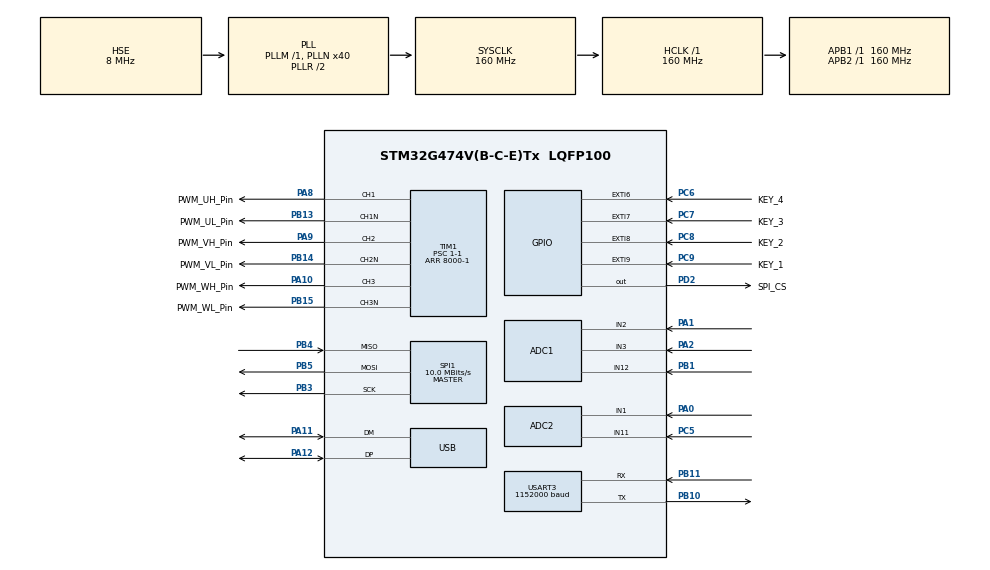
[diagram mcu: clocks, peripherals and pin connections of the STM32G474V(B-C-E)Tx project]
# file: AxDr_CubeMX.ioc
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ADC1.Channel-0\#ChannelRegularConversion=ADC_CHANNEL_12
ADC1.EnableInjectedConversion=ENABLE
ADC1.ExternalTrigInjecConv=ADC_EXTERNALTRIGINJEC_T1_TRGO
ADC1.InjNumberOfConversion=2
ADC1.InjectedChannel-1\#ChannelInjectedConversion=ADC_CHANNEL_3
ADC1.InjectedChannel-2\#ChannelInjectedConversion=ADC_CHANNEL_2
ADC1.InjectedOffsetNumber-1\#ChannelInjectedConversion=ADC_OFFSET_NONE
ADC1.InjectedOffsetNumber-2\#ChannelInjectedConversion=ADC_OFFSET_NONE
ADC1.InjectedRank-1\#ChannelInjectedConversion=1
ADC1.InjectedRank-2\#ChannelInjectedConversion=2
ADC1.InjectedSamplingTime-1\#ChannelInjectedConversion=ADC_SAMPLETIME_12CYCLES_5
ADC1.InjectedSamplingTime-2\#ChannelInjectedConversion=ADC_SAMPLETIME_12CYCLES_5
ADC1.NbrOfConversionFlag=1
ADC1.OffsetNumber-0\#ChannelRegularConversion=ADC_OFFSET_NONE
ADC1.Rank-0\#ChannelRegularConversion=1
ADC1.SamplingTime-0\#ChannelRegularConversion=ADC_SAMPLETIME_12CYCLES_5
ADC1.master=1
ADC2.Channel-0\#ChannelRegularConversion=ADC_CHANNEL_11
ADC2.EnableInjectedConversion=ENABLE
ADC2.ExternalTrigInjecConv=ADC_EXTERNALTRIGINJEC_T1_TRGO
ADC2.InjNumberOfConversion=2
ADC2.InjectedChannel-1\#ChannelInjectedConversion=ADC_CHANNEL_2
ADC2.InjectedChannel-2\#ChannelInjectedConversion=ADC_CHANNEL_1
ADC2.InjectedOffsetNumber-1\#ChannelInjectedConversion=ADC_OFFSET_NONE
ADC2.InjectedOffsetNumber-2\#ChannelInjectedConversion=ADC_OFFSET_NONE
ADC2.InjectedRank-1\#ChannelInjectedConversion=1
ADC2.InjectedRank-2\#ChannelInjectedConversion=2
ADC2.InjectedSamplingTime-1\#ChannelInjectedConversion=ADC_SAMPLETIME_12CYCLES_5
ADC2.InjectedSamplingTime-2\#ChannelInjectedConversion=ADC_SAMPLETIME_12CYCLES_5
ADC2.NbrOfConversionFlag=1
ADC2.OffsetNumber-0\#ChannelRegularConversion=ADC_OFFSET_NONE
ADC2.Rank-0\#ChannelRegularConversion=1
ADC2.Rank1_Channel=ADC_CHANNEL_2
ADC2.Rank2_Channel=ADC_CHANNEL_1
ADC2.SamplingTime-0\#ChannelRegularConversion=ADC_SAMPLETIME_6CYCLES_5
Mcu.Family=STM32G4
Mcu.Name=STM32G474V(B-C-E)Tx
Mcu.Package=LQFP100
NVIC.ADC1_2_IRQn=true\:0\:0\:false\:false\:true\:true\:true\:true
NVIC.EXTI9_5_IRQn=true\:3\:0\:true\:false\:true\:true\:true\:true
NVIC.PriorityGroup=NVIC_PRIORITYGROUP_4
NVIC.TIM1_BRK_TIM15_IRQn=true\:0\:0\:false\:false\:true\:true\:true\:true
NVIC.TIM1_UP_TIM16_IRQn=true\:0\:0\:false\:false\:true\:true\:true\:true
NVIC.USART3_IRQn=true\:0\:0\:false\:false\:true\:true\:true\:true
NVIC.USB_LP_IRQn=true\:0\:0\:false\:false\:true\:false\:true\:true
PA0.Mode=IN1-Single-Ended
PA0.Signal=ADC2_IN1
PA1.Signal=SharedAnalog_PA1
PA10.GPIO_Label=PWM_WH_Pin
PA10.Signal=S_TIM1_CH3
PA11.Mode=Device
PA11.Signal=USB_DM
PA12.Mode=Device
PA12.Signal=USB_DP
PA13.Mode=Serial_Wire
PA13.Signal=SYS_JTMS-SWDIO
PA14.Mode=Serial_Wire
PA14.Signal=SYS_JTCK-SWCLK
PA2.Mode=IN3-Single-Ended
PA2.Signal=ADC1_IN3
PA8.GPIO_Label=PWM_UH_Pin
PA8.Signal=S_TIM1_CH1
PA9.GPIO_Label=PWM_VH_Pin
PA9.Signal=S_TIM1_CH2
PB1.Mode=IN12-Single-Ended
PB1.Signal=ADC1_IN12
PB10.Mode=Asynchronous
PB10.Signal=USART3_TX
PB11.Mode=Asynchronous
PB11.Signal=USART3_RX
PB13.GPIO_Label=PWM_UL_Pin
PB13.Mode=PWM Generation1 CH1 CH1N
PB13.Signal=TIM1_CH1N
PB14.GPIO_Label=PWM_VL_Pin
PB14.Mode=PWM Generation2 CH2 CH2N
PB14.Signal=TIM1_CH2N
PB15.GPIO_Label=PWM_WL_Pin
PB15.Mode=PWM Generation3 CH3 CH3N
PB15.Signal=TIM1_CH3N
PB3.Mode=Full_Duplex_Master
PB3.Signal=SPI1_SCK
PB4.Mode=Full_Duplex_Master
PB4.Signal=SPI1_MISO
PB5.Mode=Full_Duplex_Master
PB5.Signal=SPI1_MOSI
PC5.Mode=IN11-Single-Ended
PC5.Signal=ADC2_IN11
PC6.GPIO_Label=KEY_4
PC6.GPIO_ModeDefaultEXTI=GPIO_MODE_IT_FALLING
PC6.Signal=GPXTI6
PC7.GPIO_Label=KEY_3
PC7.Signal=GPXTI7
PC8.GPIO_Label=KEY_2
PC8.Signal=GPXTI8
PC9.GPIO_Label=KEY_1
PC9.Signal=GPXTI9
PD2.GPIO_Label=SPI_CS
PD2.GPIO_PuPd=GPIO_PULLDOWN
PD2.GPIO_Speed=GPIO_SPEED_FREQ_MEDIUM
PD2.Signal=GPIO_Output
PF0-OSC_IN.Mode=HSE-External-Oscillator
PF0-OSC_IN.Signal=RCC_OSC_IN
PF1-OSC_OUT.Mode=HSE-External-Oscillator
PF1-OSC_OUT.Signal=RCC_OSC_OUT
ProjectManager.HeapSize=0x600
ProjectManager.StackSize=0x400
ProjectManager.TargetToolchain=MDK-ARM V5.32
RCC.ADC12Freq_Value=160000000
RCC.ADC345Freq_Value=160000000
RCC.AHBFreq_Value=160000000
RCC.APB1Freq_Value=160000000
RCC.APB1TimFreq_Value=160000000
RCC.APB2Freq_Value=160000000
RCC.APB2TimFreq_Value=160000000
RCC.CK48CLockSelection=RCC_USBCLKSOURCE_HSI48
RCC.CortexFreq_Value=160000000
RCC.EXTERNAL_CLOCK_VALUE=12288000
RCC.HCLKFreq_Value=160000000
RCC.HSE_VALUE=8000000
RCC.HSI48_VALUE=48000000
RCC.HSI_VALUE=16000000
RCC.LSE_VALUE=32768
RCC.PLLN=40
RCC.PLLSourceVirtual=RCC_PLLSOURCE_HSE
RCC.SYSCLKFreq_VALUE=160000000
RCC.SYSCLKSource=RCC_SYSCLKSOURCE_PLLCLK
RCC.USBFreq_Value=48000000
RCC.VCOOutputFreq_Value=320000000
SH.S_TIM1_CH1.0=TIM1_CH1,PWM Generation1 CH1 CH1N
SH.S_TIM1_CH2.0=TIM1_CH2,PWM Generation2 CH2 CH2N
SH.S_TIM1_CH3.0=TIM1_CH3,PWM Generation3 CH3 CH3N
SH.SharedAnalog_PA1.0=ADC1_IN2,IN2-Single-Ended
SH.SharedAnalog_PA1.1=ADC2_IN2,IN2-Single-Ended
SPI1.BaudRatePrescaler=SPI_BAUDRATEPRESCALER_16
SPI1.CLKPhase=SPI_PHASE_2EDGE
SPI1.CLKPolarity=SPI_POLARITY_HIGH
SPI1.CalculateBaudRate=10.0 MBits/s
SPI1.DataSize=SPI_DATASIZE_16BIT
SPI1.Direction=SPI_DIRECTION_2LINES
SPI1.Mode=SPI_MODE_MASTER
SPI1.VirtualType=VM_MASTER
STMicroelectronics.X-CUBE-ALGOBUILD.1.3.0.LibraryCcDSPOoLibraryJjDSPOoLibrary=true
TIM1.Channel-PWM\ Generation1\ CH1\ CH1N=TIM_CHANNEL_1
TIM1.Channel-PWM\ Generation2\ CH2\ CH2N=TIM_CHANNEL_2
TIM1.Channel-PWM\ Generation3\ CH3\ CH3N=TIM_CHANNEL_3
TIM1.Channel-PWM\ Generation4\ No\ Output=TIM_CHANNEL_4
TIM1.ClockDivision=TIM_CLOCKDIVISION_DIV1
TIM1.CounterMode=TIM_COUNTERMODE_CENTERALIGNED1
TIM1.DeadTime=120
TIM1.PeriodNoDither=8000-1
TIM1.Prescaler=1-1
TIM1.RepetitionCounter=1
TIM1.TIM_MasterOutputTrigger=TIM_TRGO_OC4REF
USART3.BaudRate=1152000
USART3.VirtualMode-Asynchronous=VM_ASYNC
USB_DEVICE.CLASS_NAME_FS=CDC
USB_DEVICE.VirtualMode=Cdc
USB_DEVICE.VirtualModeFS=Cdc_FS
VP_STMicroelectronics.X-CUBE-ALGOBUILD_VS_DSPOoLibraryJjLibrary_1.3.0_1.3.0.Mode=DSPOoLibraryJjLibrary
VP_SYS_VS_DBSignals.Mode=DisableDeadBatterySignals
VP_TIM1_VS_ClockSourceINT.Mode=Internal
VP_TIM1_VS_no_output4.Mode=PWM Generation4 No Output
VP_USB_DEVICE_VS_USB_DEVICE_CDC_FS.Mode=CDC_FS
board=custom

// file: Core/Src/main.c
/* USER CODE BEGIN Header */
/**
  ******************************************************************************
  * @file           : main.c
  * @brief          : Main program body
  ******************************************************************************
  * @attention
  *
  * Copyright (c) 2024 STMicroelectronics.
  * All rights reserved.
  *
  * This software is licensed under terms that can be found in the LICENSE file
  * in the root directory of this software component.
  * If no LICENSE file comes with this software, it is provided AS-IS.
  *
  ******************************************************************************
  */
/* USER CODE END Header */
#include "main.h"
#include "adc.h"
#include "spi.h"
#include "tim.h"
#include "usart.h"
#include "usb_device.h"
#include "gpio.h"

/* USER CODE BEGIN Includes */
#include "FOC_Model.h"
#include "usart_vofa.h"
#include "stdio.h"
#include "mt6816.h"
#include "motor_control.h"

uint16_T adc1_in3,adc2_in1,Udc;
extern uint8_t aRxBuffer;
float theta;
uint32_t time;
#define M_PI (3.14159265358f)         // 圆周率
float normalize_angle(float angle);
float angle= 0;
/* USER CODE END Includes */

void SystemClock_Config(void);

int main(void)
{

  /* MCU Configuration--------------------------------------------------------*/

  /* Reset of all peripherals, Initializes the Flash interface and the Systick. */
  HAL_Init();

  /* Configure the system clock */
  SystemClock_Config();

  /* Initialize all configured peripherals */
  MX_GPIO_Init();
  MX_ADC1_Init();
  MX_ADC2_Init();
  MX_TIM1_Init();
  MX_USART3_UART_Init();
  MX_SPI1_Init();
  MX_USB_Device_Init();
  /* USER CODE BEGIN 2 */
	HAL_ADCEx_Calibration_Start( &hadc1, ADC_SINGLE_ENDED);
	HAL_ADCEx_Calibration_Start( &hadc2, ADC_SINGLE_ENDED);
	__HAL_ADC_CLEAR_FLAG( &hadc1, ADC_FLAG_JEOC);
//	__HAL_ADC_CLEAR_FLAG( &hadc1, ADC_FLAG_EOC);
	__HAL_ADC_CLEAR_FLAG( &hadc2, ADC_FLAG_JEOC);
		__HAL_ADC_CLEAR_FLAG( &hadc2, ADC_FLAG_EOC);
	HAL_ADCEx_InjectedStart_IT( &hadc1);
	HAL_ADCEx_InjectedStart( &hadc2);
	TIM1->CCR4 = 8000-2;
	TIM1->ARR = 8000-1;
	HAL_TIM_Base_Start( &htim1);
	HAL_TIM_PWM_Start( &htim1, TIM_CHANNEL_4);
	HAL_UART_Receive_IT(&huart3, (uint8_t *)&aRxBuffer, 1);

  /* USER CODE END 2 */

  /* Infinite loop */
  /* USER CODE BEGIN WHILE */
	FOC_Model_initialize();

		rtU.id_ref = 4;
		rtU.Ubus = 12;
		foc.spd_ref = 500;

		rtU.MotorSwitch = 0;
//		currloop_U.theta = 6.28 * REIN_MT6816_Get_AngleData()/16348;
  while (1)
  {
    /* USER CODE END WHILE */

    /* USER CODE BEGIN 3 */
//	HAL_ADC_Start(&hadc2);
//	Udc= hadc2.Instance->DR;
//	HAL_ADCEx_RegularStop(&hadc2);
//	rtU.Ubus = Udc*3.3f/4096 *26;

	printf("%f,%f,%f,%f,%f\n",observer_flux.theta_cos,observer_flux.theta_sin,theta,foc.theta_real,foc.spd_fdbk);

  }
  /* USER CODE END 3 */
}

void SystemClock_Config(void)
{
  RCC_OscInitTypeDef RCC_OscInitStruct = {0};
  RCC_ClkInitTypeDef RCC_ClkInitStruct = {0};

  /** Configure the main internal regulator output voltage
  */
  HAL_PWREx_ControlVoltageScaling(PWR_REGULATOR_VOLTAGE_SCALE1_BOOST);

  /** Initializes the RCC Oscillators according to the specified parameters
  * in the RCC_OscInitTypeDef structure.
  */
  RCC_OscInitStruct.OscillatorType = RCC_OSCILLATORTYPE_HSI48|RCC_OSCILLATORTYPE_HSE;
  RCC_OscInitStruct.HSEState = RCC_HSE_ON;
  RCC_OscInitStruct.HSI48State = RCC_HSI48_ON;
  RCC_OscInitStruct.PLL.PLLState = RCC_PLL_ON;
  RCC_OscInitStruct.PLL.PLLSource = RCC_PLLSOURCE_HSE;
  RCC_OscInitStruct.PLL.PLLM = RCC_PLLM_DIV1;
  RCC_OscInitStruct.PLL.PLLN = 40;
  RCC_OscInitStruct.PLL.PLLP = RCC_PLLP_DIV2;
  RCC_OscInitStruct.PLL.PLLQ = RCC_PLLQ_DIV2;
  RCC_OscInitStruct.PLL.PLLR = RCC_PLLR_DIV2;
  if (HAL_RCC_OscConfig(&RCC_OscInitStruct) != HAL_OK)
  {
    Error_Handler();
  }

  /** Initializes the CPU, AHB and APB buses clocks
  */
  RCC_ClkInitStruct.ClockType = RCC_CLOCKTYPE_HCLK|RCC_CLOCKTYPE_SYSCLK
                              |RCC_CLOCKTYPE_PCLK1|RCC_CLOCKTYPE_PCLK2;
  RCC_ClkInitStruct.SYSCLKSource = RCC_SYSCLKSOURCE_PLLCLK;
  RCC_ClkInitStruct.AHBCLKDivider = RCC_SYSCLK_DIV1;
  RCC_ClkInitStruct.APB1CLKDivider = RCC_HCLK_DIV1;
  RCC_ClkInitStruct.APB2CLKDivider = RCC_HCLK_DIV1;

  if (HAL_RCC_ClockConfig(&RCC_ClkInitStruct, FLASH_LATENCY_4) != HAL_OK)
  {
    Error_Handler();
  }
}

/* USER CODE BEGIN 4 */
float normalize_angle(float angle)
{
	float a = fmod(angle, 2 * M_PI); // 取余运算可以用于归一化
	return a >= 0 ? a : (a + 2 * M_PI);
}

void HAL_ADCEx_InjectedConvCpltCallback(ADC_HandleTypeDef *hadc)
{
  /* Prevent unused argument(s) compilation warning */
  UNUSED(hadc);
	adc1_in3 = hadc1.Instance->JDR1;
	adc2_in1 = hadc2.Instance->JDR1;

	rtU.ia = (adc1_in3 - 2042)*0.04028f;
	rtU.ib = (adc2_in1 - 2030)*0.04028f;
	rtU.ic = -rtU.ia - rtU.ib;

	theta = 2 * M_PI * (REIN_MT6816_Get_AngleData())/16348;
	mt6816.mec_angle = theta;

	theta = normalize_angle(theta * 7 - 5.790462);//编码器角度

	if(motor_state==1)
	{
		rtU.MotorSwitch = 1;

		htim1.Instance->CCR1 = rtY.Tcmp1;
		htim1.Instance->CCR2 = rtY.Tcmp2;
		htim1.Instance->CCR3 = rtY.Tcmp3;

	}else
	{
		rtU.MotorSwitch = 0;

	}

	FOC_Model_step();

  /* NOTE : This function should not be modified. When the callback is needed,
            function HAL_ADCEx_InjectedConvCpltCallback must be implemented in the user file.
  */
}

/* USER CODE END 4 */

void Error_Handler(void)
{
  __disable_irq();
  while (1)
  {
  }
}
